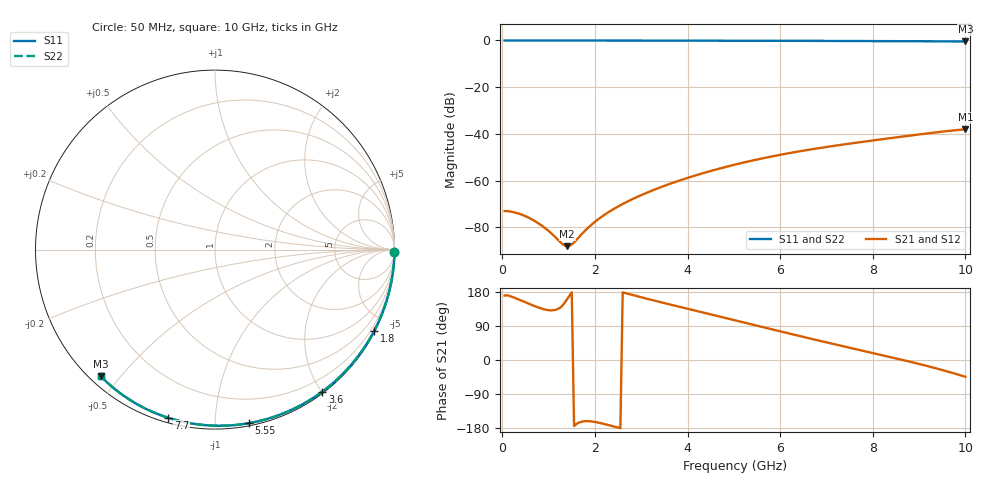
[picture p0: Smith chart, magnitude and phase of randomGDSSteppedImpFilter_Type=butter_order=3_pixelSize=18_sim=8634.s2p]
! freq	dB(S11)	phase(S11)	dB(S12)	phase(S12)
!  dB(S21)	phase(S21)	dB(S22)	phase(S22)
!S-par simulation data
#  GHz  S  DB  R 50
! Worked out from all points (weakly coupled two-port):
!   200 points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, 50 MHz to 10 GHz, reference 50 ohm
!   highest |S21| = -38.04 dB at 10 GHz (marker M1); lowest = -88.1 dB at 1.4 GHz (marker M2)
!   lowest |S11| = -0.4 dB at 10 GHz (marker M3), VSWR 39.38, Z = 1.52 - j22.2 ohm
!   |S11| at or under -10 dB: nowhere
!   |S22| runs from -0.4 to 0.0 dB; largest |S21 - S12| = 0
!   S11 on the Smith chart (normalised r, x): 50 MHz: open; 1.8 GHz: 0.04, -4.16; 3.6 GHz: 0.02, -2.01; 5.55 GHz: 0.02, -1.21; 7.7 GHz: 0.02, -0.76; 10 GHz: 0.03, -0.44
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0.05  -0.00 -0.8  -73.04 170.0  -73.04 170.0  -0.00 -0.8
0.25  -0.00 -3.8  -73.54 165.0  -73.54 165.0  -0.00 -3.8
0.45  -0.01 -6.9  -74.81 154.8  -74.81 154.8  -0.01 -6.9
0.7  -0.01 -10.6  -77.29 142.2  -77.29 142.2  -0.01 -10.6
0.9  -0.02 -13.6  -79.97 133.9  -79.97 133.9  -0.02 -13.6
1.4  -0.03 -21.1  -88.08 160.5  -88.08 160.5  -0.03 -21.1
1.75  -0.03 -26.3  -82.20 -162.0  -82.20 -162.0  -0.03 -26.3
1.8  -0.03 -27.0  -81.19 -161.4  -81.19 -161.4  -0.03 -27.0
1.85  -0.04 -27.8  -80.24 -161.4  -80.24 -161.4  -0.04 -27.8
2.2  -0.04 -32.9  -74.74 -168.8  -74.74 -168.8  -0.04 -32.9
2.55  -0.05 -38.0  -70.54 -179.9  -70.54 -179.9  -0.05 -38.0
2.95  -0.06 -43.7  -66.65 167.1  -66.65 167.1  -0.06 -43.7
3.4  -0.07 -50.1  -62.98 153.2  -62.98 153.2  -0.07 -50.1
3.6  -0.07 -52.9  -61.52 147.1  -61.52 147.1  -0.07 -52.9
4.3  -0.09 -62.5  -57.02 126.3  -57.02 126.3  -0.09 -62.5
5.05  -0.11 -72.5  -53.03 104.1  -53.03 104.1  -0.11 -72.5
5.55  -0.13 -79.0  -50.76 89.1  -50.76 89.1  -0.13 -79.0
6.7  -0.18 -93.4  -46.54 55.1  -46.54 55.1  -0.18 -93.4
7.7  -0.24 -105.5  -43.62 26.8  -43.62 26.8  -0.24 -105.5
8.35  -0.29 -113.2  -41.90 8.6  -41.90 8.6  -0.29 -113.2
9.15  -0.36 -122.4  -39.87 -15.1  -39.87 -15.1  -0.36 -122.4
10  -0.44 -132.1  -38.04 -44.3  -38.04 -44.3  -0.44 -132.1
